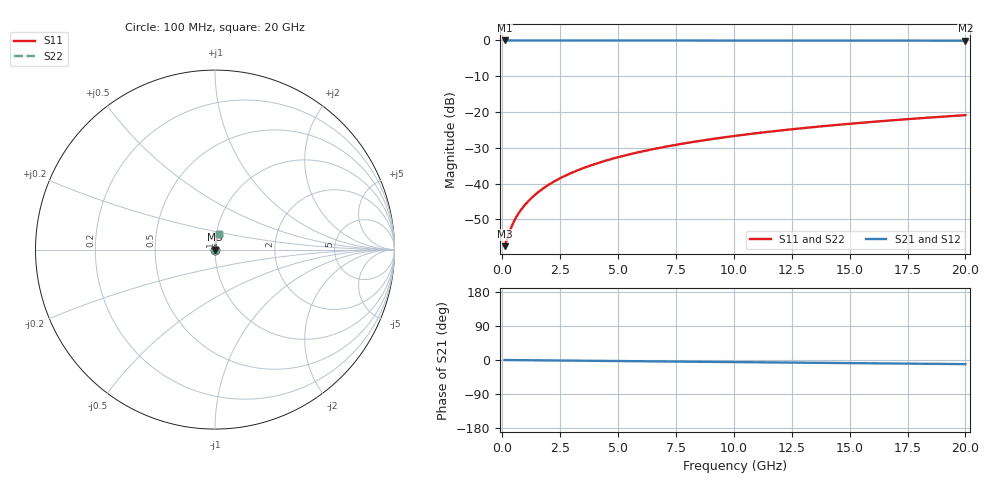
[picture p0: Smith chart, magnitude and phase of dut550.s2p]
! Touchstone file exported from HFSS 2026.1.0
!  File:  C:/ffzhzh/LocalFiles/Ansys_Project_Files/temp_train_BSMRDL_550_1783015116_53980.aedt
!  Generated:  02:00:09 AM Jul  3, 2026
!  Design:  BSMRDL
!  Project:  temp_train_BSMRDL_550_1783015116_53980
! Variables:
!  h_bsmrdl = 2.22um
!  h_ox = 20um
!  h_rdl = 5um
!  h_sub = 80um
!  h_tmrdl = 5um
!  h_tsv = 80um
!  h_via = 3um
!  l_bsmrdl = 136.24um
!  l_sub = 536.24um
!  l_tmrdl = 200um
!  m_sub = 200um
!  pitch = 43.76um
!  r_tsv = 6um
!  s_tmrdl = 10um
!  w_bsmrdl = 28.02um
!  w_sub = 500um
!  w_tmrdl = 12um
!  x_tsv_center1 = 206um
!  x_tsv_center2 = 370.26um
!  x_tsv_center3 = 582.26um
!  x_tsv_center4 = 746.52um
!  x_tsv_center5 = 958.52um
!  x_tsv_center6 = 1122.78um
# GHz S MA R 50.000000
! Terminal data exported
! Port[1] = BSM_RDL1_1_T1
! Port[2] = BSM_RDL1_1_T2
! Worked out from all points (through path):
!   200 points, 100 MHz to 20 GHz, reference 50 ohm
!   highest |S21| = -0.01 dB at 100 MHz (marker M1); lowest = -0.1 dB at 20 GHz (marker M2)
!   group delay of S21, straight-line fit = 1.51 ps
!   lowest |S11| = -57.5 dB at 100 MHz (marker M3), VSWR 1.00, Z = 50.1 + j0.0551 ohm
!   |S11| at or under -10 dB: start of sweep to end of sweep
!   |S22| runs from -57.5 to -20.9 dB; largest |S21 - S12| = 2.1e-15
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0.1  0.001337 24.3  0.9988 -0.1  0.9988 -0.1  0.001337 24.3
! Gamma 0 0 0 0
! Port Impedance 50 0 50 0
0.3  0.002072 50.6  0.9987 -0.2  0.9987 -0.2  0.002072 50.6
0.4  0.002508 56.8  0.9986 -0.2  0.9986 -0.2  0.002508 56.8
0.5  0.002949 60.9  0.9986 -0.3  0.9986 -0.3  0.002949 60.9
0.6  0.003389 64.0  0.9985 -0.3  0.9985 -0.3  0.003389 64.0
0.7  0.003828 66.4  0.9985 -0.4  0.9985 -0.4  0.003828 66.4
0.9  0.004703 70.0  0.9984 -0.5  0.9984 -0.5  0.004703 70.0
1.2  0.006024 73.6  0.9984 -0.7  0.9984 -0.7  0.006024 73.6
1.4  0.006913 75.3  0.9983 -0.8  0.9983 -0.8  0.006913 75.3
1.7  0.008258 77.2  0.9983 -0.9  0.9983 -0.9  0.008258 77.2
2.2  0.01052 79.3  0.9982 -1.2  0.9982 -1.2  0.01052 79.3
2.8  0.01326 80.8  0.9981 -1.6  0.9981 -1.6  0.01326 80.8
3.5  0.01647 81.7  0.998 -1.9  0.998 -1.9  0.01647 81.7
4.2  0.01969 82.2  0.9979 -2.3  0.9979 -2.3  0.01969 82.2
5  0.02337 82.5  0.9978 -2.8  0.9978 -2.8  0.02337 82.5
5.9  0.0275 82.5  0.9976 -3.3  0.9976 -3.3  0.0275 82.5
6.8  0.03162 82.4  0.9974 -3.7  0.9974 -3.7  0.03162 82.4
8.3  0.03846 82.0  0.997 -4.6  0.997 -4.6  0.03846 82.0
10.1  0.04661 81.4  0.9964 -5.5  0.9964 -5.5  0.04661 81.4
13.4  0.06141 79.9  0.9952 -7.3  0.9952 -7.3  0.06141 79.9
16.7  0.07599 78.4  0.9938 -9.1  0.9938 -9.1  0.07599 78.4
20  0.09035 76.7  0.9922 -10.9  0.9922 -10.9  0.09035 76.7
